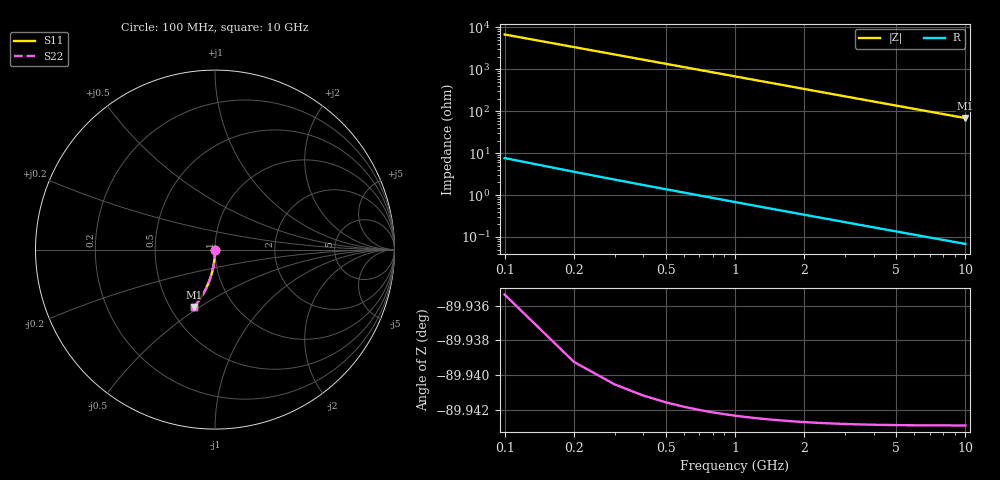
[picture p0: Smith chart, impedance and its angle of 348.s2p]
# Hz S RI R 50.00
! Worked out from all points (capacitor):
!   100 points, 100 MHz to 10 GHz, reference 50 ohm
!   read as one part in shunt: C = 235 fF near 100 MHz
!   lowest |Z| = 68.7 ohm at 10 GHz (marker M1)
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1e8  -1.52e-05 -0.00368  1 -0.0037  1 -0.0037  -1.52e-05 -0.00368
2e8  -5.97e-05 -0.00735  0.9999 -0.0074  0.9999 -0.0074  -5.97e-05 -0.00735
3e8  -0.000131 -0.011  0.9999 -0.0111  0.9999 -0.0111  -0.000131 -0.011
4e8  -0.00023 -0.0147  0.9998 -0.0148  0.9998 -0.0148  -0.00023 -0.0147
5e8  -0.000356 -0.0184  0.9996 -0.0185  0.9996 -0.0185  -0.000356 -0.0184
6e8  -0.000509 -0.022  0.9995 -0.0222  0.9995 -0.0222  -0.000509 -0.022
7e8  -0.000689 -0.0257  0.9993 -0.0259  0.9993 -0.0259  -0.000689 -0.0257
8e8  -0.000896 -0.0294  0.9991 -0.0296  0.9991 -0.0296  -0.000896 -0.0294
9e8  -0.00113 -0.033  0.9989 -0.0332  0.9989 -0.0332  -0.00113 -0.033
1.1e9  -0.00168 -0.0403  0.9983 -0.0406  0.9983 -0.0406  -0.00168 -0.0403
1.4e9  -0.0027 -0.0512  0.9973 -0.0516  0.9973 -0.0516  -0.0027 -0.0512
1.8e9  -0.00443 -0.0657  0.9956 -0.0662  0.9956 -0.0662  -0.00443 -0.0657
2.1e9  -0.00601 -0.0765  0.994 -0.0771  0.994 -0.0771  -0.00601 -0.0765
2.5e9  -0.00847 -0.0908  0.9915 -0.0914  0.9915 -0.0914  -0.00847 -0.0908
2.9e9  -0.0113 -0.105  0.9887 -0.1057  0.9887 -0.1057  -0.0113 -0.105
3.4e9  -0.0155 -0.1225  0.9845 -0.1233  0.9845 -0.1233  -0.0155 -0.1225
4.2e9  -0.0233 -0.1499  0.9767 -0.1509  0.9767 -0.1509  -0.0233 -0.1499
5.1e9  -0.0339 -0.1798  0.9661 -0.1811  0.9661 -0.1811  -0.0339 -0.1798
5.9e9  -0.0447 -0.2054  0.9553 -0.2069  0.9553 -0.2069  -0.0447 -0.2054
6.7e9  -0.0567 -0.23  0.9432 -0.2317  0.9432 -0.2317  -0.0567 -0.23
8.4e9  -0.086 -0.2788  0.914 -0.2809  0.914 -0.2809  -0.086 -0.2788
1e10  -0.1173 -0.3199  0.8827 -0.3225  0.8827 -0.3225  -0.1173 -0.3199
